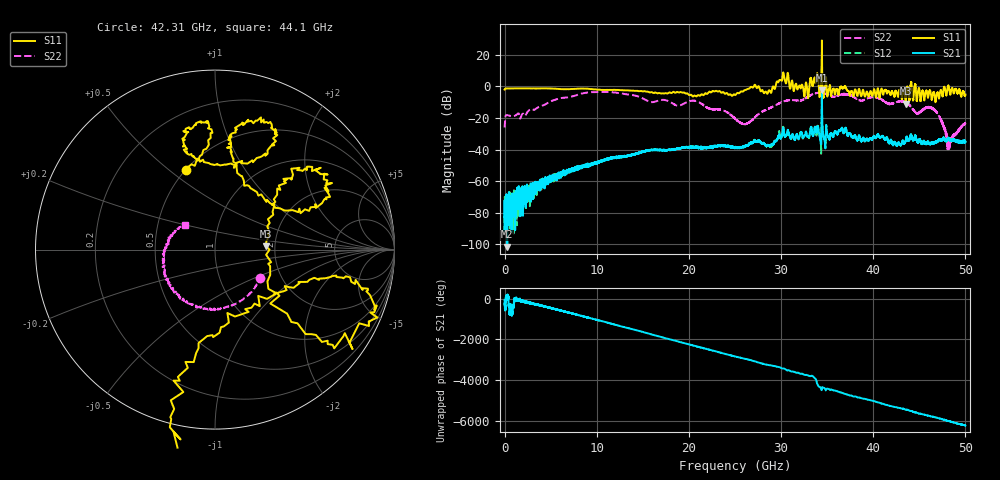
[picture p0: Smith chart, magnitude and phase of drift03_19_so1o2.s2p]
!Created with skrf (http://scikit-rf.org).
# Hz S RI R 50.0
!freq ReS11 ImS11 ReS21 ImS21 ReS12 ImS12 ReS22 ImS22
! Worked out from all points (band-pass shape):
!   10000 points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, 5.3 MHz to 50 GHz, reference 50 ohm
!   highest |S21| = -2.58 dB at 34.43 GHz (marker M1); lowest = -101.4 dB at 290.3 MHz (marker M2)
!   |S21| within 3 dB of the highest: 34.42757 GHz to 34.43476 GHz (7.191 MHz wide, 0.0209 % of centre)
!   lowest |S11| = -11.0 dB at 43.52 GHz (marker M3), VSWR 1.79, Z = 89.1 + j3.69 ohm
!   |S11| at or under -10 dB: 43.50103 GHz to 43.5344 GHz (33.38 MHz wide, 0.0767 % of centre); 43.53664 GHz to 43.54344 GHz (6.794 MHz wide, 0.0156 % of centre); 46.74922 GHz to 46.75117 GHz (1.952 MHz wide, 0.00418 % of centre)
!   |S22| runs from -39.8 to -3.6 dB; largest |S21 - S12| = 0.24
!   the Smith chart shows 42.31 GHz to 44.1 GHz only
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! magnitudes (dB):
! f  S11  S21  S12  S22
! 5.3 MHz  -2.1  -82.8  -81.6  -26.1
! 290.3 MHz  -1.4  -101.4  -77.6  -18.3
! 2.995 GHz  -1.4  -67.3  -66.5  -14.5
! 8.34 GHz  -1.5  -50.5  -51.4  -4.7
! 16.67 GHz  -4.4  -40.3  -40.2  -9.2
! 20.73 GHz  -6.2  -38.6  -38.6  -9.3
! 25.01 GHz  -5.5  -38.8  -38.9  -20.5
! 26.22 GHz  -2.3  -37.7  -37.6  -23.8
! 27.36 GHz  -1.1  -35.1  -34.8  -18.6
! 28.72 GHz  -2.5  -38.0  -37.3  -14.0
! 30.14 GHz  4.3  -29.6  -29.8  -10.0
! 32.74 GHz  2.0  -29.5  -29.2  -7.3
! 33.34 GHz  2.5  -27.3  -27.9  -5.3
! 33.82 GHz  3.9  -29.0  -29.5  -4.4
! 34.43 GHz  28.9  -2.6  -4.7  -4.0
! 36.49 GHz  -0.2  -27.7  -27.8  -5.4
! 41.67 GHz  -3.2  -35.5  -35.6  -11.0
! 43.52 GHz  -11.0  -34.1  -34.6  -10.4
! 44.74 GHz  -8.8  -34.4  -34.7  -17.0
! 46.64 GHz  -4.9  -35.8  -35.9  -15.3
! 48.22 GHz  -0.7  -33.9  -33.5  -36.4
! 50 GHz  -5.3  -35.4  -34.9  -23.4
